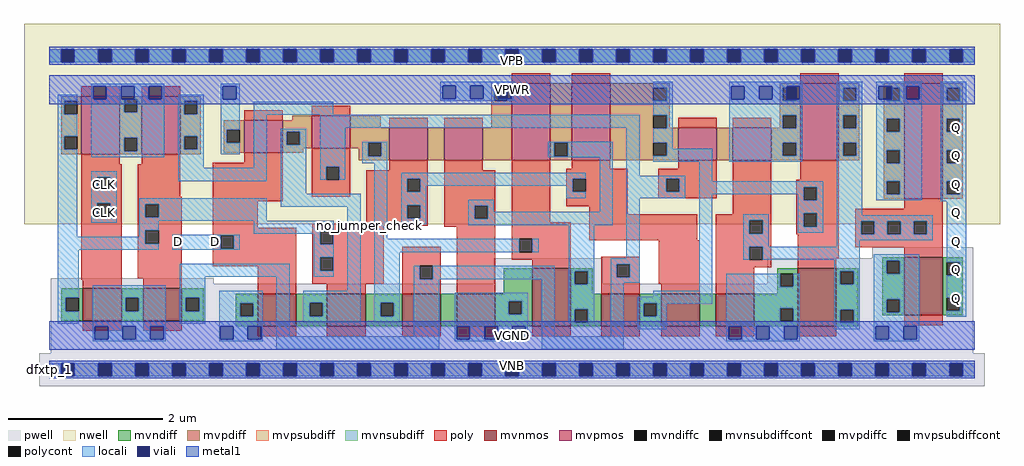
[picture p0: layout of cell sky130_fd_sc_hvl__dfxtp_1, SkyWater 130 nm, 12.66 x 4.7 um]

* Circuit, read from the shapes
.subckt sky130_fd_sc_hvl__dfxtp_1 CLK D VGND VNB VPB VPWR Q
XM1 VGND CLK n1 VNB sky130_fd_pr__nfet_g5v0d10v5 w=0.42 l=0.5
XM2 n2 n1 VGND VNB sky130_fd_pr__nfet_g5v0d10v5 w=0.42 l=0.5
XM3 n3 D VGND VNB sky130_fd_pr__nfet_g5v0d10v5 w=0.42 l=0.5
XM4 n4 n1 n3 VNB sky130_fd_pr__nfet_g5v0d10v5 w=0.42 l=0.5
XM5 n5 n2 n4 VNB sky130_fd_pr__nfet_g5v0d10v5 w=0.42 l=0.5
XM6 VGND n6 n5 VNB sky130_fd_pr__nfet_g5v0d10v5 w=0.42 l=0.5
XM7 n6 n4 VGND VNB sky130_fd_pr__nfet_g5v0d10v5 w=0.75 l=0.5
XM8 n7 n2 n6 VNB sky130_fd_pr__nfet_g5v0d10v5 w=0.42 l=0.5
XM9 n8 n1 n7 VNB sky130_fd_pr__nfet_g5v0d10v5 w=0.42 l=0.5
XM10 VGND n9 n8 VNB sky130_fd_pr__nfet_g5v0d10v5 w=0.42 l=0.5
XM11 n9 n7 VGND VNB sky130_fd_pr__nfet_g5v0d10v5 w=0.75 l=0.5
XM12 Q n9 VGND VNB sky130_fd_pr__nfet_g5v0d10v5 w=0.75 l=0.5
XM13 VPWR CLK n1 VPB sky130_fd_pr__pfet_g5v0d10v5 w=0.75 l=0.5
XM14 n2 n1 VPWR VPB sky130_fd_pr__pfet_g5v0d10v5 w=0.75 l=0.5
XM15 n3 D VPWR VPB sky130_fd_pr__pfet_g5v0d10v5 w=0.42 l=0.5
XM16 n4 n2 n3 VPB sky130_fd_pr__pfet_g5v0d10v5 w=0.42 l=0.5
XM17 n10 n1 n4 VPB sky130_fd_pr__pfet_g5v0d10v5 w=0.42 l=0.5
XM18 VPWR n6 n10 VPB sky130_fd_pr__pfet_g5v0d10v5 w=0.42 l=0.5
XM19 n6 n4 VPWR VPB sky130_fd_pr__pfet_g5v0d10v5 w=1 l=0.5
XM20 n7 n1 n6 VPB sky130_fd_pr__pfet_g5v0d10v5 w=1 l=0.5
XM21 n11 n2 n7 VPB sky130_fd_pr__pfet_g5v0d10v5 w=0.42 l=0.5
XM22 VPWR n9 n11 VPB sky130_fd_pr__pfet_g5v0d10v5 w=0.42 l=0.5
XM23 n9 n7 VPWR VPB sky130_fd_pr__pfet_g5v0d10v5 w=1 l=0.5
XM24 Q n9 VPWR VPB sky130_fd_pr__pfet_g5v0d10v5 w=1.5 l=0.5
.ends

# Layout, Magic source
magic
tech sky130B
magscale 1 2
<< nwell >>
rect -66 377 2466 897
<< pwell >>
rect 2134 289 2396 317
rect 4 223 426 237
rect 1153 223 1435 289
rect 1862 223 2396 289
rect 4 43 2396 223
rect -26 -43 2426 43
<< mvnmos >>
rect 87 127 187 211
rect 243 127 343 211
rect 540 113 640 197
rect 720 113 820 197
rect 915 113 1015 197
rect 1057 113 1157 197
rect 1252 113 1352 263
rect 1431 113 1531 197
rect 1587 113 1687 197
rect 1729 113 1829 197
rect 1941 113 2041 263
rect 2217 141 2317 291
<< mvpmos >>
rect 83 559 183 709
rect 239 559 339 709
rect 505 563 605 647
rect 680 574 780 658
rect 882 543 982 627
rect 1024 543 1124 627
rect 1199 543 1299 743
rect 1355 543 1455 743
rect 1631 543 1731 627
rect 1773 543 1873 627
rect 1948 543 2048 743
rect 2217 443 2317 743
<< mvndiff >>
rect 30 186 87 211
rect 30 152 42 186
rect 76 152 87 186
rect 30 127 87 152
rect 187 186 243 211
rect 187 152 198 186
rect 232 152 243 186
rect 187 127 243 152
rect 343 186 400 211
rect 1179 197 1252 263
rect 343 152 354 186
rect 388 152 400 186
rect 343 127 400 152
rect 483 172 540 197
rect 483 138 495 172
rect 529 138 540 172
rect 483 113 540 138
rect 640 173 720 197
rect 640 139 675 173
rect 709 139 720 173
rect 640 113 720 139
rect 820 173 915 197
rect 820 139 859 173
rect 893 139 915 173
rect 820 113 915 139
rect 1015 113 1057 197
rect 1157 177 1252 197
rect 1157 143 1191 177
rect 1225 143 1252 177
rect 1157 113 1252 143
rect 1352 255 1409 263
rect 1352 221 1363 255
rect 1397 221 1409 255
rect 1352 197 1409 221
rect 2160 283 2217 291
rect 1888 249 1941 263
rect 1888 215 1896 249
rect 1930 215 1941 249
rect 1888 197 1941 215
rect 1352 157 1431 197
rect 1352 123 1363 157
rect 1397 123 1431 157
rect 1352 113 1431 123
rect 1531 172 1587 197
rect 1531 138 1542 172
rect 1576 138 1587 172
rect 1531 113 1587 138
rect 1687 113 1729 197
rect 1829 159 1941 197
rect 1829 125 1896 159
rect 1930 125 1941 159
rect 1829 113 1941 125
rect 2041 255 2098 263
rect 2041 221 2052 255
rect 2086 221 2098 255
rect 2041 155 2098 221
rect 2041 121 2052 155
rect 2086 121 2098 155
rect 2160 249 2172 283
rect 2206 249 2217 283
rect 2160 183 2217 249
rect 2160 149 2172 183
rect 2206 149 2217 183
rect 2160 141 2217 149
rect 2317 279 2370 291
rect 2317 245 2328 279
rect 2362 245 2370 279
rect 2317 187 2370 245
rect 2317 153 2328 187
rect 2362 153 2370 187
rect 2317 141 2370 153
rect 2041 113 2098 121
<< mvpdiff >>
rect 1146 731 1199 743
rect 30 697 83 709
rect 30 663 38 697
rect 72 663 83 697
rect 30 605 83 663
rect 30 571 38 605
rect 72 571 83 605
rect 30 559 83 571
rect 183 701 239 709
rect 183 667 194 701
rect 228 667 239 701
rect 183 601 239 667
rect 183 567 194 601
rect 228 567 239 601
rect 183 559 239 567
rect 339 697 392 709
rect 339 663 350 697
rect 384 663 392 697
rect 1146 697 1154 731
rect 1188 697 1199 731
rect 339 605 392 663
rect 630 647 680 658
rect 339 571 350 605
rect 384 571 392 605
rect 339 559 392 571
rect 452 622 505 647
rect 452 588 460 622
rect 494 588 505 622
rect 452 563 505 588
rect 605 617 680 647
rect 605 583 616 617
rect 650 583 680 617
rect 605 574 680 583
rect 780 627 860 658
rect 1146 627 1199 697
rect 780 588 882 627
rect 780 574 827 588
rect 605 563 658 574
rect 802 554 827 574
rect 861 554 882 588
rect 802 543 882 554
rect 982 543 1024 627
rect 1124 543 1199 627
rect 1299 588 1355 743
rect 1299 554 1310 588
rect 1344 554 1355 588
rect 1299 543 1355 554
rect 1455 731 1609 743
rect 1455 697 1567 731
rect 1601 697 1609 731
rect 1455 660 1609 697
rect 1455 626 1567 660
rect 1601 627 1609 660
rect 1895 731 1948 743
rect 1895 697 1903 731
rect 1937 697 1948 731
rect 1895 660 1948 697
rect 1895 627 1903 660
rect 1601 626 1631 627
rect 1455 589 1631 626
rect 1455 555 1567 589
rect 1601 555 1631 589
rect 1455 543 1631 555
rect 1731 543 1773 627
rect 1873 626 1903 627
rect 1937 626 1948 660
rect 1873 589 1948 626
rect 1873 555 1903 589
rect 1937 555 1948 589
rect 1873 543 1948 555
rect 2048 731 2101 743
rect 2048 697 2059 731
rect 2093 697 2101 731
rect 2048 660 2101 697
rect 2048 626 2059 660
rect 2093 626 2101 660
rect 2048 589 2101 626
rect 2048 555 2059 589
rect 2093 555 2101 589
rect 2048 543 2101 555
rect 2164 731 2217 743
rect 2164 697 2172 731
rect 2206 697 2217 731
rect 2164 651 2217 697
rect 2164 617 2172 651
rect 2206 617 2217 651
rect 2164 569 2217 617
rect 2164 535 2172 569
rect 2206 535 2217 569
rect 2164 489 2217 535
rect 2164 455 2172 489
rect 2206 455 2217 489
rect 2164 443 2217 455
rect 2317 731 2370 743
rect 2317 697 2328 731
rect 2362 697 2370 731
rect 2317 651 2370 697
rect 2317 617 2328 651
rect 2362 617 2370 651
rect 2317 569 2370 617
rect 2317 535 2328 569
rect 2362 535 2370 569
rect 2317 489 2370 535
rect 2317 455 2328 489
rect 2362 455 2370 489
rect 2317 443 2370 455
<< mvndiffc >>
rect 42 152 76 186
rect 198 152 232 186
rect 354 152 388 186
rect 495 138 529 172
rect 675 139 709 173
rect 859 139 893 173
rect 1191 143 1225 177
rect 1363 221 1397 255
rect 1896 215 1930 249
rect 1363 123 1397 157
rect 1542 138 1576 172
rect 1896 125 1930 159
rect 2052 221 2086 255
rect 2052 121 2086 155
rect 2172 249 2206 283
rect 2172 149 2206 183
rect 2328 245 2362 279
rect 2328 153 2362 187
<< mvpdiffc >>
rect 38 663 72 697
rect 38 571 72 605
rect 194 667 228 701
rect 194 567 228 601
rect 350 663 384 697
rect 1154 697 1188 731
rect 350 571 384 605
rect 460 588 494 622
rect 616 583 650 617
rect 827 554 861 588
rect 1310 554 1344 588
rect 1567 697 1601 731
rect 1567 626 1601 660
rect 1903 697 1937 731
rect 1567 555 1601 589
rect 1903 626 1937 660
rect 1903 555 1937 589
rect 2059 697 2093 731
rect 2059 626 2093 660
rect 2059 555 2093 589
rect 2172 697 2206 731
rect 2172 617 2206 651
rect 2172 535 2206 569
rect 2172 455 2206 489
rect 2328 697 2362 731
rect 2328 617 2362 651
rect 2328 535 2362 569
rect 2328 455 2362 489
<< mvpsubdiff >>
rect 0 -17 31 17
rect 65 -17 127 17
rect 161 -17 223 17
rect 257 -17 319 17
rect 353 -17 415 17
rect 449 -17 511 17
rect 545 -17 607 17
rect 641 -17 703 17
rect 737 -17 799 17
rect 833 -17 895 17
rect 929 -17 991 17
rect 1025 -17 1087 17
rect 1121 -17 1183 17
rect 1217 -17 1279 17
rect 1313 -17 1375 17
rect 1409 -17 1471 17
rect 1505 -17 1567 17
rect 1601 -17 1663 17
rect 1697 -17 1759 17
rect 1793 -17 1855 17
rect 1889 -17 1951 17
rect 1985 -17 2047 17
rect 2081 -17 2143 17
rect 2177 -17 2239 17
rect 2273 -17 2335 17
rect 2369 -17 2400 17
<< mvnsubdiff >>
rect 0 797 31 831
rect 65 797 127 831
rect 161 797 223 831
rect 257 797 319 831
rect 353 797 415 831
rect 449 797 511 831
rect 545 797 607 831
rect 641 797 703 831
rect 737 797 799 831
rect 833 797 895 831
rect 929 797 991 831
rect 1025 797 1087 831
rect 1121 797 1183 831
rect 1217 797 1279 831
rect 1313 797 1375 831
rect 1409 797 1471 831
rect 1505 797 1567 831
rect 1601 797 1663 831
rect 1697 797 1759 831
rect 1793 797 1855 831
rect 1889 797 1951 831
rect 1985 797 2047 831
rect 2081 797 2143 831
rect 2177 797 2239 831
rect 2273 797 2335 831
rect 2369 797 2400 831
<< mvpsubdiffcont >>
rect 31 -17 65 17
rect 127 -17 161 17
rect 223 -17 257 17
rect 319 -17 353 17
rect 415 -17 449 17
rect 511 -17 545 17
rect 607 -17 641 17
rect 703 -17 737 17
rect 799 -17 833 17
rect 895 -17 929 17
rect 991 -17 1025 17
rect 1087 -17 1121 17
rect 1183 -17 1217 17
rect 1279 -17 1313 17
rect 1375 -17 1409 17
rect 1471 -17 1505 17
rect 1567 -17 1601 17
rect 1663 -17 1697 17
rect 1759 -17 1793 17
rect 1855 -17 1889 17
rect 1951 -17 1985 17
rect 2047 -17 2081 17
rect 2143 -17 2177 17
rect 2239 -17 2273 17
rect 2335 -17 2369 17
<< mvnsubdiffcont >>
rect 31 797 65 831
rect 127 797 161 831
rect 223 797 257 831
rect 319 797 353 831
rect 415 797 449 831
rect 511 797 545 831
rect 607 797 641 831
rect 703 797 737 831
rect 799 797 833 831
rect 895 797 929 831
rect 991 797 1025 831
rect 1087 797 1121 831
rect 1183 797 1217 831
rect 1279 797 1313 831
rect 1375 797 1409 831
rect 1471 797 1505 831
rect 1567 797 1601 831
rect 1663 797 1697 831
rect 1759 797 1793 831
rect 1855 797 1889 831
rect 1951 797 1985 831
rect 2047 797 2081 831
rect 2143 797 2177 831
rect 2239 797 2273 831
rect 2335 797 2369 831
<< poly >>
rect 1199 743 1299 769
rect 1355 743 1455 769
rect 1948 743 2048 769
rect 2217 743 2317 769
rect 83 709 183 735
rect 239 709 339 735
rect 505 647 605 673
rect 680 658 780 684
rect 882 627 982 653
rect 1024 627 1124 653
rect 83 533 183 559
rect 239 533 339 559
rect 505 537 605 563
rect 83 499 187 533
rect 83 465 124 499
rect 158 465 187 499
rect 83 431 187 465
rect 83 397 124 431
rect 158 397 187 431
rect 83 233 187 397
rect 229 449 339 533
rect 229 429 343 449
rect 229 395 249 429
rect 283 395 343 429
rect 229 361 343 395
rect 229 327 249 361
rect 283 327 343 361
rect 229 237 343 327
rect 424 437 605 537
rect 680 526 780 574
rect 1631 627 1731 653
rect 1773 627 1873 653
rect 680 492 718 526
rect 752 492 780 526
rect 882 517 982 543
rect 680 448 780 492
rect 822 495 982 517
rect 822 461 928 495
rect 962 461 982 495
rect 424 368 540 437
rect 822 427 982 461
rect 822 393 928 427
rect 962 393 982 427
rect 822 379 982 393
rect 682 373 982 379
rect 1024 517 1124 543
rect 1024 425 1157 517
rect 1024 391 1103 425
rect 1137 391 1157 425
rect 424 348 640 368
rect 424 314 444 348
rect 478 314 640 348
rect 424 268 640 314
rect 87 211 187 233
rect 243 211 343 237
rect 540 197 640 268
rect 682 359 867 373
rect 1024 371 1157 391
rect 682 325 702 359
rect 736 325 867 359
rect 682 291 867 325
rect 682 257 702 291
rect 736 257 867 291
rect 682 223 867 257
rect 915 269 1015 319
rect 915 235 961 269
rect 995 235 1015 269
rect 720 197 820 223
rect 915 197 1015 235
rect 1057 197 1157 371
rect 1199 382 1299 543
rect 1355 521 1455 543
rect 1631 521 1731 543
rect 1341 495 1500 521
rect 1341 461 1357 495
rect 1391 461 1500 495
rect 1341 424 1500 461
rect 1580 495 1731 521
rect 1580 461 1600 495
rect 1634 461 1731 495
rect 1580 445 1731 461
rect 1400 403 1500 424
rect 1773 403 1873 543
rect 1948 493 2048 543
rect 1199 339 1352 382
rect 1199 305 1219 339
rect 1253 305 1352 339
rect 1400 335 1681 403
rect 1729 387 1873 403
rect 1729 353 1816 387
rect 1850 353 1873 387
rect 1199 285 1352 305
rect 1252 263 1352 285
rect 1431 273 1531 293
rect 87 101 187 127
rect 243 101 343 127
rect 1431 239 1472 273
rect 1506 239 1531 273
rect 1431 197 1531 239
rect 1581 223 1687 335
rect 1587 197 1687 223
rect 1729 319 1873 353
rect 1937 473 2048 493
rect 1937 439 1957 473
rect 1991 439 2048 473
rect 1937 405 2048 439
rect 2217 417 2317 443
rect 1937 371 1957 405
rect 1991 371 2048 405
rect 1937 351 2048 371
rect 1729 285 1816 319
rect 1850 285 1873 319
rect 1729 265 1873 285
rect 1941 289 2048 351
rect 2090 385 2317 417
rect 2090 351 2106 385
rect 2140 351 2174 385
rect 2208 351 2242 385
rect 2276 351 2317 385
rect 2090 317 2317 351
rect 2217 291 2317 317
rect 1729 197 1829 265
rect 1941 263 2041 289
rect 2217 115 2317 141
rect 540 87 640 113
rect 720 87 820 113
rect 915 87 1015 113
rect 1057 87 1157 113
rect 1252 87 1352 113
rect 1431 87 1531 113
rect 1587 87 1687 113
rect 1729 87 1829 113
rect 1941 87 2041 113
<< polycont >>
rect 124 465 158 499
rect 124 397 158 431
rect 249 395 283 429
rect 249 327 283 361
rect 718 492 752 526
rect 928 461 962 495
rect 928 393 962 427
rect 1103 391 1137 425
rect 444 314 478 348
rect 702 325 736 359
rect 702 257 736 291
rect 961 235 995 269
rect 1357 461 1391 495
rect 1600 461 1634 495
rect 1219 305 1253 339
rect 1816 353 1850 387
rect 1472 239 1506 273
rect 1957 439 1991 473
rect 1957 371 1991 405
rect 1816 285 1850 319
rect 2106 351 2140 385
rect 2174 351 2208 385
rect 2242 351 2276 385
<< locali >>
rect 0 797 31 831
rect 65 797 127 831
rect 161 797 223 831
rect 257 797 319 831
rect 353 797 415 831
rect 449 797 511 831
rect 545 797 607 831
rect 641 797 703 831
rect 737 797 799 831
rect 833 797 895 831
rect 929 797 991 831
rect 1025 797 1087 831
rect 1121 797 1183 831
rect 1217 797 1279 831
rect 1313 797 1375 831
rect 1409 797 1471 831
rect 1505 797 1567 831
rect 1601 797 1663 831
rect 1697 797 1759 831
rect 1793 797 1855 831
rect 1889 797 1951 831
rect 1985 797 2047 831
rect 2081 797 2143 831
rect 2177 797 2239 831
rect 2273 797 2335 831
rect 2369 797 2400 831
rect 108 735 298 741
rect 22 697 72 713
rect 22 663 38 697
rect 22 605 72 663
rect 22 571 38 605
rect 22 345 72 571
rect 108 701 114 735
rect 148 701 186 735
rect 220 701 258 735
rect 292 701 298 735
rect 444 735 494 741
rect 108 667 194 701
rect 228 667 298 701
rect 108 601 298 667
rect 108 567 194 601
rect 228 567 298 601
rect 108 551 298 567
rect 334 697 400 713
rect 334 663 350 697
rect 384 663 400 697
rect 334 605 400 663
rect 334 571 350 605
rect 384 571 400 605
rect 334 523 400 571
rect 444 701 450 735
rect 484 701 494 735
rect 444 622 494 701
rect 1014 737 1204 747
rect 1014 703 1020 737
rect 1054 703 1092 737
rect 1126 731 1164 737
rect 1126 703 1154 731
rect 1198 703 1204 737
rect 1014 697 1154 703
rect 1188 697 1204 703
rect 1567 731 1617 747
rect 1601 697 1617 731
rect 444 588 460 622
rect 444 559 494 588
rect 530 661 736 695
rect 530 523 564 661
rect 702 627 1531 661
rect 108 499 174 515
rect 108 465 124 499
rect 158 465 174 499
rect 334 489 564 523
rect 600 617 666 625
rect 600 583 616 617
rect 650 583 666 617
rect 108 431 174 465
rect 600 456 666 583
rect 702 526 768 627
rect 811 588 877 591
rect 811 554 827 588
rect 861 554 877 588
rect 811 535 877 554
rect 1294 588 1461 591
rect 1294 554 1310 588
rect 1344 554 1461 588
rect 1294 551 1461 554
rect 702 492 718 526
rect 752 492 768 526
rect 108 397 124 431
rect 158 397 174 431
rect 108 381 174 397
rect 233 429 564 445
rect 233 395 249 429
rect 283 395 564 429
rect 600 422 807 456
rect 233 386 564 395
rect 233 361 283 386
rect 233 345 249 361
rect 22 327 249 345
rect 530 359 737 386
rect 530 352 702 359
rect 22 311 283 327
rect 319 348 494 350
rect 319 314 444 348
rect 478 314 494 348
rect 319 311 494 314
rect 686 325 702 352
rect 736 325 737 359
rect 22 186 76 311
rect 686 291 737 325
rect 338 241 623 275
rect 686 257 702 291
rect 736 257 737 291
rect 686 241 737 257
rect 22 152 42 186
rect 22 119 76 152
rect 112 186 302 219
rect 112 152 198 186
rect 232 152 302 186
rect 112 113 302 152
rect 338 186 404 241
rect 338 152 354 186
rect 388 152 404 186
rect 338 119 404 152
rect 440 172 553 205
rect 440 138 495 172
rect 529 138 553 172
rect 112 79 118 113
rect 152 79 190 113
rect 224 79 262 113
rect 296 79 302 113
rect 112 73 302 79
rect 440 113 553 138
rect 440 79 443 113
rect 477 79 515 113
rect 549 79 553 113
rect 440 73 553 79
rect 589 87 623 241
rect 773 205 807 422
rect 659 173 807 205
rect 659 139 675 173
rect 709 139 807 173
rect 659 123 807 139
rect 843 339 877 535
rect 913 495 1391 511
rect 913 461 928 495
rect 962 477 1357 495
rect 962 461 978 477
rect 913 427 978 461
rect 1341 461 1357 477
rect 1341 445 1391 461
rect 913 393 928 427
rect 962 393 978 427
rect 913 377 978 393
rect 1087 425 1153 441
rect 1087 391 1103 425
rect 1137 409 1153 425
rect 1427 409 1461 551
rect 1137 391 1461 409
rect 1087 375 1461 391
rect 1497 503 1531 627
rect 1567 660 1617 697
rect 1601 626 1617 660
rect 1567 589 1617 626
rect 1601 573 1617 589
rect 1763 735 1953 747
rect 1763 701 1769 735
rect 1803 701 1841 735
rect 1875 731 1913 735
rect 1875 701 1903 731
rect 1947 701 1953 735
rect 1763 697 1903 701
rect 1937 697 1953 701
rect 1763 660 1953 697
rect 1763 626 1903 660
rect 1937 626 1953 660
rect 1763 589 1953 626
rect 1601 555 1720 573
rect 1567 539 1720 555
rect 1763 555 1903 589
rect 1937 555 1953 589
rect 1763 539 1953 555
rect 2043 731 2109 747
rect 2043 697 2059 731
rect 2093 697 2109 731
rect 2043 660 2109 697
rect 2043 626 2059 660
rect 2093 626 2109 660
rect 2043 589 2109 626
rect 2043 555 2059 589
rect 2093 555 2109 589
rect 1497 495 1650 503
rect 1497 461 1600 495
rect 1634 461 1650 495
rect 1497 445 1650 461
rect 1686 489 1720 539
rect 1686 473 2007 489
rect 1686 455 1957 473
rect 843 305 1219 339
rect 1253 305 1269 339
rect 843 173 909 305
rect 843 139 859 173
rect 893 139 909 173
rect 843 123 909 139
rect 945 235 961 269
rect 995 235 1311 269
rect 945 87 1011 235
rect 589 53 1011 87
rect 1051 177 1241 199
rect 1051 143 1191 177
rect 1225 143 1241 177
rect 1051 113 1241 143
rect 1051 79 1057 113
rect 1091 79 1129 113
rect 1163 79 1201 113
rect 1235 79 1241 113
rect 1051 73 1241 79
rect 1277 87 1311 235
rect 1347 255 1413 375
rect 1497 289 1531 445
rect 1347 221 1363 255
rect 1397 221 1413 255
rect 1347 157 1413 221
rect 1347 123 1363 157
rect 1397 123 1413 157
rect 1456 273 1531 289
rect 1456 239 1472 273
rect 1506 239 1531 273
rect 1456 225 1531 239
rect 1456 87 1490 225
rect 1686 205 1720 455
rect 1941 439 1957 455
rect 1991 439 2007 473
rect 1941 405 2007 439
rect 1800 387 1866 403
rect 1800 353 1816 387
rect 1850 353 1866 387
rect 1941 371 1957 405
rect 1991 371 2007 405
rect 1941 355 2007 371
rect 2043 401 2109 555
rect 2145 735 2263 747
rect 2145 701 2151 735
rect 2185 731 2223 735
rect 2206 701 2223 731
rect 2257 701 2263 735
rect 2145 697 2172 701
rect 2206 697 2263 701
rect 2145 651 2263 697
rect 2145 617 2172 651
rect 2206 617 2263 651
rect 2145 569 2263 617
rect 2145 535 2172 569
rect 2206 535 2263 569
rect 2145 489 2263 535
rect 2145 455 2172 489
rect 2206 455 2263 489
rect 2145 439 2263 455
rect 2312 731 2378 747
rect 2312 697 2328 731
rect 2362 697 2378 731
rect 2312 651 2378 697
rect 2312 617 2328 651
rect 2362 617 2378 651
rect 2312 569 2378 617
rect 2312 535 2328 569
rect 2362 535 2378 569
rect 2312 489 2378 535
rect 2312 455 2328 489
rect 2362 455 2378 489
rect 2312 437 2378 455
rect 2043 385 2292 401
rect 1800 319 1866 353
rect 2043 351 2106 385
rect 2140 351 2174 385
rect 2208 351 2242 385
rect 2276 351 2292 385
rect 2043 335 2292 351
rect 2043 319 2102 335
rect 1800 285 1816 319
rect 1850 285 2102 319
rect 2036 255 2102 285
rect 1567 189 1720 205
rect 1526 172 1720 189
rect 1526 138 1542 172
rect 1576 171 1720 172
rect 1756 215 1896 249
rect 1930 215 1946 249
rect 1576 138 1601 171
rect 1526 105 1601 138
rect 1756 159 1946 215
rect 1756 125 1896 159
rect 1930 125 1946 159
rect 1756 113 1946 125
rect 1277 53 1490 87
rect 1756 79 1762 113
rect 1796 79 1834 113
rect 1868 79 1906 113
rect 1940 79 1946 113
rect 2036 221 2052 255
rect 2086 221 2102 255
rect 2036 155 2102 221
rect 2036 121 2052 155
rect 2086 121 2102 155
rect 2036 105 2102 121
rect 2138 283 2256 299
rect 2138 249 2172 283
rect 2206 249 2256 283
rect 2138 183 2256 249
rect 2138 149 2172 183
rect 2206 149 2256 183
rect 2138 113 2256 149
rect 2328 279 2378 437
rect 2362 245 2378 279
rect 2328 187 2378 245
rect 2362 153 2378 187
rect 2328 137 2378 153
rect 1756 73 1946 79
rect 2138 79 2144 113
rect 2178 79 2216 113
rect 2250 79 2256 113
rect 2138 73 2256 79
rect 0 -17 31 17
rect 65 -17 127 17
rect 161 -17 223 17
rect 257 -17 319 17
rect 353 -17 415 17
rect 449 -17 511 17
rect 545 -17 607 17
rect 641 -17 703 17
rect 737 -17 799 17
rect 833 -17 895 17
rect 929 -17 991 17
rect 1025 -17 1087 17
rect 1121 -17 1183 17
rect 1217 -17 1279 17
rect 1313 -17 1375 17
rect 1409 -17 1471 17
rect 1505 -17 1567 17
rect 1601 -17 1663 17
rect 1697 -17 1759 17
rect 1793 -17 1855 17
rect 1889 -17 1951 17
rect 1985 -17 2047 17
rect 2081 -17 2143 17
rect 2177 -17 2239 17
rect 2273 -17 2335 17
rect 2369 -17 2400 17
<< viali >>
rect 31 797 65 831
rect 127 797 161 831
rect 223 797 257 831
rect 319 797 353 831
rect 415 797 449 831
rect 511 797 545 831
rect 607 797 641 831
rect 703 797 737 831
rect 799 797 833 831
rect 895 797 929 831
rect 991 797 1025 831
rect 1087 797 1121 831
rect 1183 797 1217 831
rect 1279 797 1313 831
rect 1375 797 1409 831
rect 1471 797 1505 831
rect 1567 797 1601 831
rect 1663 797 1697 831
rect 1759 797 1793 831
rect 1855 797 1889 831
rect 1951 797 1985 831
rect 2047 797 2081 831
rect 2143 797 2177 831
rect 2239 797 2273 831
rect 2335 797 2369 831
rect 114 701 148 735
rect 186 701 220 735
rect 258 701 292 735
rect 450 701 484 735
rect 1020 703 1054 737
rect 1092 703 1126 737
rect 1164 731 1198 737
rect 1164 703 1188 731
rect 1188 703 1198 731
rect 118 79 152 113
rect 190 79 224 113
rect 262 79 296 113
rect 443 79 477 113
rect 515 79 549 113
rect 1769 701 1803 735
rect 1841 701 1875 735
rect 1913 731 1947 735
rect 1913 701 1937 731
rect 1937 701 1947 731
rect 1057 79 1091 113
rect 1129 79 1163 113
rect 1201 79 1235 113
rect 2151 731 2185 735
rect 2151 701 2172 731
rect 2172 701 2185 731
rect 2223 701 2257 735
rect 1762 79 1796 113
rect 1834 79 1868 113
rect 1906 79 1940 113
rect 2144 79 2178 113
rect 2216 79 2250 113
rect 31 -17 65 17
rect 127 -17 161 17
rect 223 -17 257 17
rect 319 -17 353 17
rect 415 -17 449 17
rect 511 -17 545 17
rect 607 -17 641 17
rect 703 -17 737 17
rect 799 -17 833 17
rect 895 -17 929 17
rect 991 -17 1025 17
rect 1087 -17 1121 17
rect 1183 -17 1217 17
rect 1279 -17 1313 17
rect 1375 -17 1409 17
rect 1471 -17 1505 17
rect 1567 -17 1601 17
rect 1663 -17 1697 17
rect 1759 -17 1793 17
rect 1855 -17 1889 17
rect 1951 -17 1985 17
rect 2047 -17 2081 17
rect 2143 -17 2177 17
rect 2239 -17 2273 17
rect 2335 -17 2369 17
<< metal1 >>
rect 0 831 2400 837
rect 0 797 31 831
rect 65 797 127 831
rect 161 797 223 831
rect 257 797 319 831
rect 353 797 415 831
rect 449 797 511 831
rect 545 797 607 831
rect 641 797 703 831
rect 737 797 799 831
rect 833 797 895 831
rect 929 797 991 831
rect 1025 797 1087 831
rect 1121 797 1183 831
rect 1217 797 1279 831
rect 1313 797 1375 831
rect 1409 797 1471 831
rect 1505 797 1567 831
rect 1601 797 1663 831
rect 1697 797 1759 831
rect 1793 797 1855 831
rect 1889 797 1951 831
rect 1985 797 2047 831
rect 2081 797 2143 831
rect 2177 797 2239 831
rect 2273 797 2335 831
rect 2369 797 2400 831
rect 0 791 2400 797
rect 0 737 2400 763
rect 0 735 1020 737
rect 0 701 114 735
rect 148 701 186 735
rect 220 701 258 735
rect 292 701 450 735
rect 484 703 1020 735
rect 1054 703 1092 737
rect 1126 703 1164 737
rect 1198 735 2400 737
rect 1198 703 1769 735
rect 484 701 1769 703
rect 1803 701 1841 735
rect 1875 701 1913 735
rect 1947 701 2151 735
rect 2185 701 2223 735
rect 2257 701 2400 735
rect 0 689 2400 701
rect 0 113 2400 125
rect 0 79 118 113
rect 152 79 190 113
rect 224 79 262 113
rect 296 79 443 113
rect 477 79 515 113
rect 549 79 1057 113
rect 1091 79 1129 113
rect 1163 79 1201 113
rect 1235 79 1762 113
rect 1796 79 1834 113
rect 1868 79 1906 113
rect 1940 79 2144 113
rect 2178 79 2216 113
rect 2250 79 2400 113
rect 0 51 2400 79
rect 0 17 2400 23
rect 0 -17 31 17
rect 65 -17 127 17
rect 161 -17 223 17
rect 257 -17 319 17
rect 353 -17 415 17
rect 449 -17 511 17
rect 545 -17 607 17
rect 641 -17 703 17
rect 737 -17 799 17
rect 833 -17 895 17
rect 929 -17 991 17
rect 1025 -17 1087 17
rect 1121 -17 1183 17
rect 1217 -17 1279 17
rect 1313 -17 1375 17
rect 1409 -17 1471 17
rect 1505 -17 1567 17
rect 1601 -17 1663 17
rect 1697 -17 1759 17
rect 1793 -17 1855 17
rect 1889 -17 1951 17
rect 1985 -17 2047 17
rect 2081 -17 2143 17
rect 2177 -17 2239 17
rect 2273 -17 2335 17
rect 2369 -17 2400 17
rect 0 -23 2400 -17
<< labels >>
flabel comment s 831 373 831 373 0 FreeSans 200 90 0 0 no_jumper_check
rlabel comment s 0 0 0 0 4 dfxtp_1
flabel metal1 s 0 51 2400 125 0 FreeSans 340 0 0 0 VGND
port 3 nsew ground bidirectional
flabel metal1 s 0 0 2400 23 0 FreeSans 340 0 0 0 VNB
port 4 nsew ground bidirectional
flabel metal1 s 0 689 2400 763 0 FreeSans 340 0 0 0 VPWR
port 6 nsew power bidirectional
flabel metal1 s 0 791 2400 814 0 FreeSans 340 0 0 0 VPB
port 5 nsew power bidirectional
flabel locali s 127 390 161 424 0 FreeSans 340 0 0 0 CLK
port 1 nsew clock input
flabel locali s 127 464 161 498 0 FreeSans 340 0 0 0 CLK
port 1 nsew clock input
flabel locali s 319 316 353 350 0 FreeSans 340 0 0 0 D
port 2 nsew signal input
flabel locali s 415 316 449 350 0 FreeSans 340 0 0 0 D
port 2 nsew signal input
flabel locali s 2335 168 2369 202 0 FreeSans 340 0 0 0 Q
port 7 nsew signal output
flabel locali s 2335 242 2369 276 0 FreeSans 340 0 0 0 Q
port 7 nsew signal output
flabel locali s 2335 316 2369 350 0 FreeSans 340 0 0 0 Q
port 7 nsew signal output
flabel locali s 2335 390 2369 424 0 FreeSans 340 0 0 0 Q
port 7 nsew signal output
flabel locali s 2335 464 2369 498 0 FreeSans 340 0 0 0 Q
port 7 nsew signal output
flabel locali s 2335 538 2369 572 0 FreeSans 340 0 0 0 Q
port 7 nsew signal output
flabel locali s 2335 612 2369 646 0 FreeSans 340 0 0 0 Q
port 7 nsew signal output
<< properties >>
string FIXED_BBOX 0 0 2400 814
string GDS_END 1154778
string GDS_FILE $PDKPATH/libs.ref/sky130_fd_sc_hvl/gds/sky130_fd_sc_hvl.gds
string GDS_START 1130742
string LEFclass CORE
string LEFsite unithv
string LEFsymmetry X Y
<< end >>
